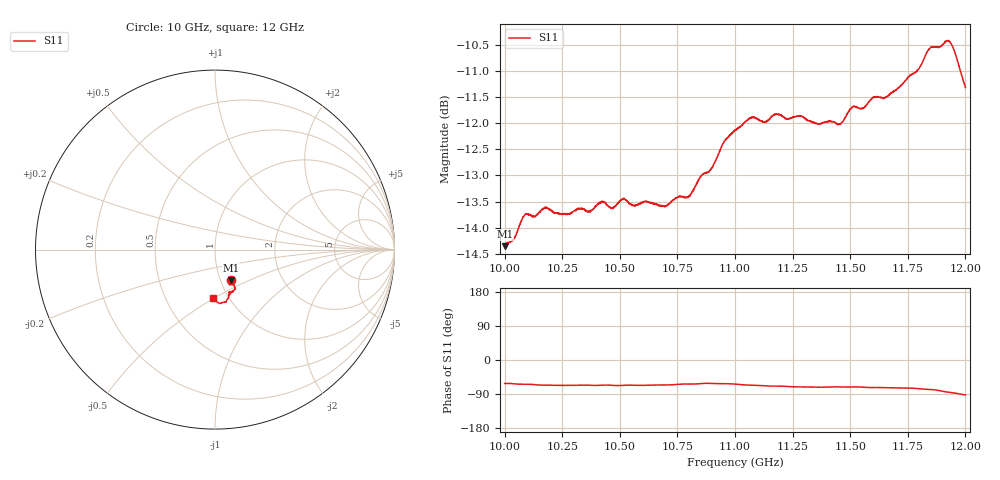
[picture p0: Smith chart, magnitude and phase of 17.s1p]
[Version] 2.0
! Rohde & Schwarz Vector Network Analyzer
! Rohde-Schwarz,ZNL20-2Port,1323001220200009,1.71.1.10-23.02.1.238
! Port Assignments:
! Nominal Port -> Actual Test Port
!  1 -> 1
! Created: GMT 2024-09-04 14:22:00
# Hz S DB R 50
[Number of Ports] 1
! freq[Hz]  S11[mag dB]  S11[ang]
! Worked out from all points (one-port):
!   2001 points, 10 GHz to 12 GHz, reference 50 ohm
!   lowest |S11| = -14.4 dB at 10 GHz (marker M1), VSWR 1.47, Z = 56.2 - j19.7 ohm
!   |S11| at or under -10 dB: start of sweep to end of sweep
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[Number of Frequencies] 28
[Network Data]
1e10  -14.35 -62.0
1.0001e10  -14.36 -62.0
1.004e10  -14.22 -62.6
1.0092e10  -13.74 -63.9
1.0131e10  -13.78 -65.0
1.0177e10  -13.62 -66.4
1.025e10  -13.74 -67.0
1.0371e10  -13.69 -66.7
1.042e10  -13.52 -66.5
1.0469e10  -13.62 -67.0
1.05e10  -13.49 -67.3
1.0692e10  -13.59 -65.7
1.075e10  -13.42 -64.4
1.0805e10  -13.39 -63.5
1.0873e10  -12.95 -61.5
1.1e10  -12.13 -63.6
1.1072e10  -11.88 -66.5
1.125e10  -11.88 -70.6
1.137e10  -12.01 -71.9
1.1451e10  -12.01 -71.0
1.15e10  -11.72 -71.5
1.1658e10  -11.49 -73.3
1.175e10  -11.13 -74.2
1.1794e10  -10.97 -75.5
1.1856e10  -10.53 -78.1
1.1924e10  -10.41 -84.7
1.1949e10  -10.58 -86.6
1.2e10  -11.31 -92.2
[End]
